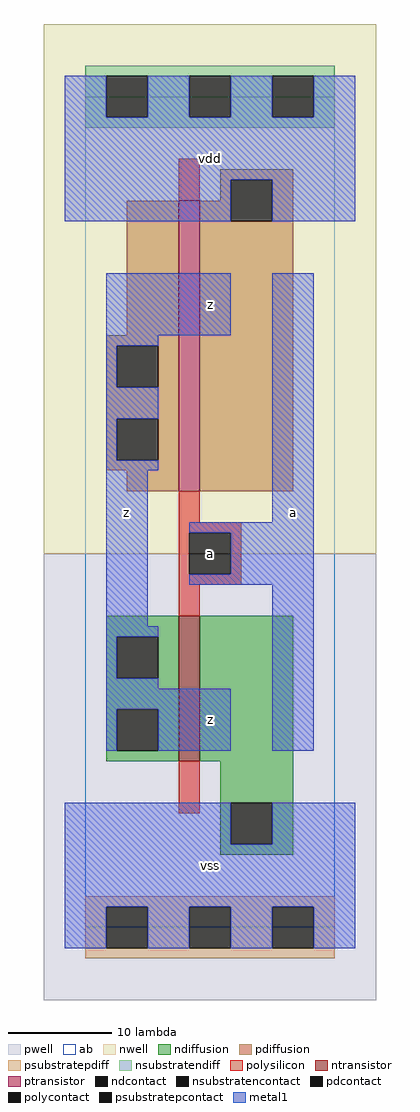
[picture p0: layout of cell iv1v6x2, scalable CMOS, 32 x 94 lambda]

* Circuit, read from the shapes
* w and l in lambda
.subckt iv1v6x2 a vdd vss z
M1 vss a z vss nfet w=14 l=2
M2 vdd a z vdd pfet w=28 l=2
.ends

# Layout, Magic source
magic
tech scmos
<< ab >>
rect 0 0 24 80
<< pwell >>
rect -4 -7 28 36
<< nwell >>
rect -4 36 28 87
<< polysilicon >>
rect 9 70 11 74
rect 9 39 11 42
rect 9 38 15 39
rect 9 34 10 38
rect 14 34 15 38
rect 9 33 15 34
rect 9 30 11 33
rect 9 11 11 16
<< ndiffusion >>
rect 2 28 9 30
rect 2 24 3 28
rect 7 24 9 28
rect 2 21 9 24
rect 2 17 3 21
rect 7 17 9 21
rect 2 16 9 17
rect 11 16 20 30
rect 13 12 20 16
rect 13 8 14 12
rect 18 8 20 12
rect 13 7 20 8
<< pdiffusion >>
rect 13 72 20 73
rect 13 70 14 72
rect 4 57 9 70
rect 2 56 9 57
rect 2 52 3 56
rect 7 52 9 56
rect 2 49 9 52
rect 2 45 3 49
rect 7 45 9 49
rect 2 44 9 45
rect 4 42 9 44
rect 11 68 14 70
rect 18 68 20 72
rect 11 42 20 68
<< metal1 >>
rect -2 78 2 82
rect 6 78 10 82
rect 14 78 18 82
rect 22 78 26 82
rect -2 72 26 78
rect -2 68 14 72
rect 18 68 26 72
rect 2 57 14 63
rect 2 56 7 57
rect 2 52 3 56
rect 2 49 7 52
rect 2 45 3 49
rect 2 44 7 45
rect 2 29 6 44
rect 18 39 22 63
rect 10 38 22 39
rect 14 34 22 38
rect 10 33 22 34
rect 2 28 7 29
rect 2 24 3 28
rect 2 23 7 24
rect 2 21 14 23
rect 2 17 3 21
rect 7 17 14 21
rect 18 17 22 33
rect -2 8 14 12
rect 18 8 26 12
rect -2 2 26 8
rect -2 -2 2 2
rect 6 -2 10 2
rect 14 -2 18 2
rect 22 -2 26 2
<< ntransistor >>
rect 9 16 11 30
<< ptransistor >>
rect 9 42 11 70
<< polycontact >>
rect 10 34 14 38
<< ndcontact >>
rect 3 24 7 28
rect 3 17 7 21
rect 14 8 18 12
<< pdcontact >>
rect 3 52 7 56
rect 3 45 7 49
rect 14 68 18 72
<< psubstratepcontact >>
rect 2 -2 6 2
rect 10 -2 14 2
rect 18 -2 22 2
<< nsubstratencontact >>
rect 2 78 6 82
rect 10 78 14 82
rect 18 78 22 82
<< psubstratepdiff >>
rect 0 2 24 3
rect 0 -2 2 2
rect 6 -2 10 2
rect 14 -2 18 2
rect 22 -2 24 2
rect 0 -3 24 -2
<< nsubstratendiff >>
rect 0 82 24 83
rect 0 78 2 82
rect 6 78 10 82
rect 14 78 18 82
rect 22 78 24 82
rect 0 77 24 78
<< labels >>
rlabel metal1 4 40 4 40 6 z
rlabel metal1 12 6 12 6 6 vss
rlabel metal1 12 20 12 20 6 z
rlabel polycontact 12 36 12 36 6 a
rlabel metal1 12 60 12 60 6 z
rlabel metal1 12 74 12 74 6 vdd
rlabel metal1 20 40 20 40 6 a
<< end >>
